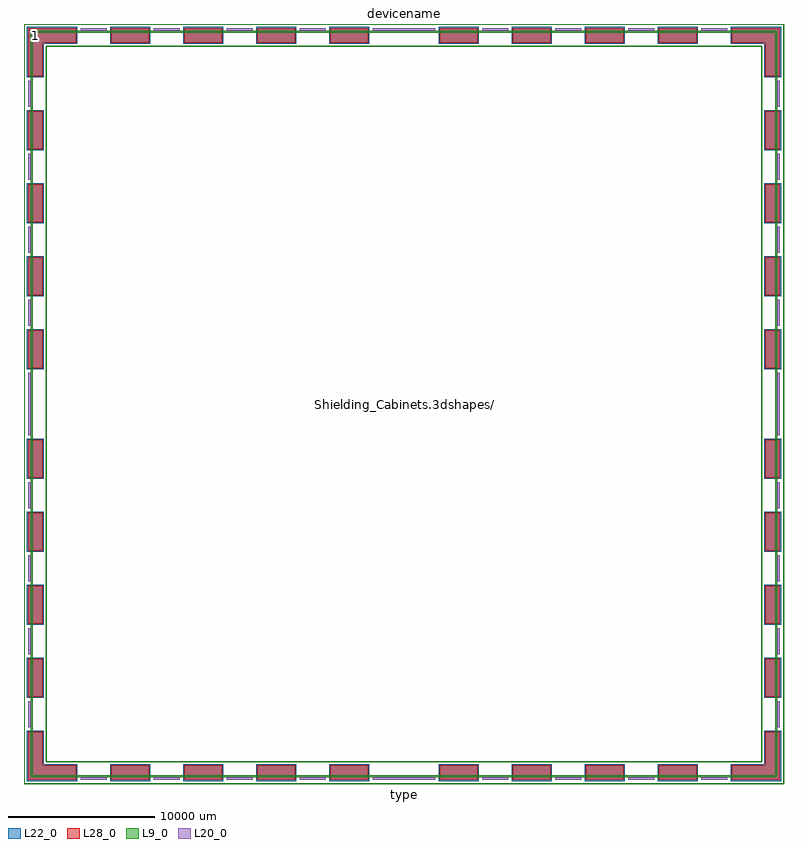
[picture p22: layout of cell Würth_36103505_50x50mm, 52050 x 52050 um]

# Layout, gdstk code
import gdstk
lib = gdstk.Library(unit=1e-6, precision=1e-09)
def R(c, l, rs):  # rectangles x0, y0, x1, y1
    for r in rs: c.add(gdstk.rectangle(r[:2], r[2:], *l))
def A(c, l, x, y, w, h, nx, ny, dx, dy):  # array of equal rectangles
    R(c, l, [(x+i*dx, y+j*dy, x+i*dx+w, y+j*dy+h) for i in range(nx) for j in range(ny)])
L9_0 = (9, 0)
L20_0 = (20, 0)
L22_0 = (22, 0)
L28_0 = (28, 0)

w_rth_36103505_50x50mm = lib.new_cell('Würth_36103505_50x50mm')
A(w_rth_36103505_50x50mm, L22_0, -20125, -25825, 2750, 1150, 4, 2, 5000, 50500)
A(w_rth_36103505_50x50mm, L22_0, 2375, -25825, 2750, 1150, 4, 2, 5000, 50500)
A(w_rth_36103505_50x50mm, L22_0, -25825, -20125, 1150, 2750, 1, 4, 0, 5000)
A(w_rth_36103505_50x50mm, L22_0, 24675, -20125, 1150, 2750, 1, 4, 0, 5000)
A(w_rth_36103505_50x50mm, L22_0, -25825, 2375, 1150, 2750, 1, 4, 0, 5000)
A(w_rth_36103505_50x50mm, L22_0, 24675, 2375, 1150, 2750, 1, 4, 0, 5000)
R(w_rth_36103505_50x50mm, L22_0, [(-25825,-25825,-24675,-24675), (-24825,-25825,-22375,-24675), (22375,-25825,24825,-24675), (24675,-25825,25825,-24675), (-25825,-24825,-24675,-22375), (24675,-24825,25825,-22375), (-25825,22375,-24675,24825), (24675,22375,25825,24825), (-25825,24675,-24675,25825), (-24825,24675,-22375,25825), (22375,24675,24825,25825), (24675,24675,25825,25825)])
A(w_rth_36103505_50x50mm, L28_0, -20050, -25750, 2600, 1000, 4, 2, 5000, 50500)
A(w_rth_36103505_50x50mm, L28_0, 2450, -25750, 2600, 1000, 4, 2, 5000, 50500)
A(w_rth_36103505_50x50mm, L28_0, -25750, -20050, 1000, 2600, 1, 4, 0, 5000)
A(w_rth_36103505_50x50mm, L28_0, 24750, -20050, 1000, 2600, 1, 4, 0, 5000)
A(w_rth_36103505_50x50mm, L28_0, -25750, 2450, 1000, 2600, 1, 4, 0, 5000)
A(w_rth_36103505_50x50mm, L28_0, 24750, 2450, 1000, 2600, 1, 4, 0, 5000)
R(w_rth_36103505_50x50mm, L28_0, [(-25750,-25750,-24750,-24750), (-24750,-25750,-22450,-24750), (22450,-25750,24750,-24750), (24750,-25750,25750,-24750), (-25750,-24750,-24750,-22450), (24750,-24750,25750,-22450), (-25750,22450,-24750,24750), (24750,22450,25750,24750), (-25750,24750,-24750,25750), (-24750,24750,-22450,25750), (22450,24750,24750,25750), (24750,24750,25750,25750)])
w_rth_36103505_50x50mm.add(gdstk.FlexPath([(25650,-20350),(25650,-22150)], 149.998, ends="flush", simple_path=True, layer=20, datatype=0))  # L20_0
w_rth_36103505_50x50mm.add(gdstk.FlexPath([(-25650,-20350),(-25650,-22150)], 149.998, ends="flush", simple_path=True, layer=20, datatype=0))  # L20_0
w_rth_36103505_50x50mm.add(gdstk.FlexPath([(25650,-15350),(25650,-17150)], 149.998, ends="flush", simple_path=True, layer=20, datatype=0))  # L20_0
w_rth_36103505_50x50mm.add(gdstk.FlexPath([(-25650,-15350),(-25650,-17150)], 149.998, ends="flush", simple_path=True, layer=20, datatype=0))  # L20_0
w_rth_36103505_50x50mm.add(gdstk.FlexPath([(25650,-10350),(25650,-12150)], 149.998, ends="flush", simple_path=True, layer=20, datatype=0))  # L20_0
w_rth_36103505_50x50mm.add(gdstk.FlexPath([(-25650,-10350),(-25650,-12150)], 149.998, ends="flush", simple_path=True, layer=20, datatype=0))  # L20_0
w_rth_36103505_50x50mm.add(gdstk.FlexPath([(25650,-5350),(25650,-7150)], 149.998, ends="flush", simple_path=True, layer=20, datatype=0))  # L20_0
w_rth_36103505_50x50mm.add(gdstk.FlexPath([(-25650,-5350),(-25650,-7150)], 149.998, ends="flush", simple_path=True, layer=20, datatype=0))  # L20_0
w_rth_36103505_50x50mm.add(gdstk.FlexPath([(25650,2150),(25650,-2150)], 149.998, ends="flush", simple_path=True, layer=20, datatype=0))  # L20_0
w_rth_36103505_50x50mm.add(gdstk.FlexPath([(-25650,2150),(-25650,-2150)], 149.998, ends="flush", simple_path=True, layer=20, datatype=0))  # L20_0
w_rth_36103505_50x50mm.add(gdstk.FlexPath([(25650,7150),(25650,5350)], 149.998, ends="flush", simple_path=True, layer=20, datatype=0))  # L20_0
w_rth_36103505_50x50mm.add(gdstk.FlexPath([(-25650,7150),(-25650,5350)], 149.998, ends="flush", simple_path=True, layer=20, datatype=0))  # L20_0
w_rth_36103505_50x50mm.add(gdstk.FlexPath([(25650,12150),(25650,10350)], 149.998, ends="flush", simple_path=True, layer=20, datatype=0))  # L20_0
w_rth_36103505_50x50mm.add(gdstk.FlexPath([(-25650,12150),(-25650,10350)], 149.998, ends="flush", simple_path=True, layer=20, datatype=0))  # L20_0
w_rth_36103505_50x50mm.add(gdstk.FlexPath([(25650,17150),(25650,15350)], 149.998, ends="flush", simple_path=True, layer=20, datatype=0))  # L20_0
w_rth_36103505_50x50mm.add(gdstk.FlexPath([(-25650,17150),(-25650,15350)], 149.998, ends="flush", simple_path=True, layer=20, datatype=0))  # L20_0
w_rth_36103505_50x50mm.add(gdstk.FlexPath([(25650,22150),(25650,20350)], 149.998, ends="flush", simple_path=True, layer=20, datatype=0))  # L20_0
w_rth_36103505_50x50mm.add(gdstk.FlexPath([(-25650,22150),(-25650,20350)], 149.998, ends="flush", simple_path=True, layer=20, datatype=0))  # L20_0
w_rth_36103505_50x50mm.add(gdstk.FlexPath([(20350,-25650),(22150,-25650)], 149.998, ends="flush", simple_path=True, layer=20, datatype=0))  # L20_0
w_rth_36103505_50x50mm.add(gdstk.FlexPath([(20350,25650),(22150,25650)], 149.998, ends="flush", simple_path=True, layer=20, datatype=0))  # L20_0
w_rth_36103505_50x50mm.add(gdstk.FlexPath([(15350,-25650),(17150,-25650)], 149.998, ends="flush", simple_path=True, layer=20, datatype=0))  # L20_0
w_rth_36103505_50x50mm.add(gdstk.FlexPath([(15350,25650),(17150,25650)], 149.998, ends="flush", simple_path=True, layer=20, datatype=0))  # L20_0
w_rth_36103505_50x50mm.add(gdstk.FlexPath([(10350,-25650),(12150,-25650)], 149.998, ends="flush", simple_path=True, layer=20, datatype=0))  # L20_0
w_rth_36103505_50x50mm.add(gdstk.FlexPath([(10350,25650),(12150,25650)], 149.998, ends="flush", simple_path=True, layer=20, datatype=0))  # L20_0
w_rth_36103505_50x50mm.add(gdstk.FlexPath([(5350,-25650),(7150,-25650)], 149.998, ends="flush", simple_path=True, layer=20, datatype=0))  # L20_0
w_rth_36103505_50x50mm.add(gdstk.FlexPath([(5350,25650),(7150,25650)], 149.998, ends="flush", simple_path=True, layer=20, datatype=0))  # L20_0
w_rth_36103505_50x50mm.add(gdstk.FlexPath([(-2150,-25650),(2150,-25650)], 149.998, ends="flush", simple_path=True, layer=20, datatype=0))  # L20_0
w_rth_36103505_50x50mm.add(gdstk.FlexPath([(-2150,25650),(2150,25650)], 149.998, ends="flush", simple_path=True, layer=20, datatype=0))  # L20_0
w_rth_36103505_50x50mm.add(gdstk.FlexPath([(-7150,-25650),(-5350,-25650)], 149.998, ends="flush", simple_path=True, layer=20, datatype=0))  # L20_0
w_rth_36103505_50x50mm.add(gdstk.FlexPath([(-7150,25650),(-5350,25650)], 149.998, ends="flush", simple_path=True, layer=20, datatype=0))  # L20_0
w_rth_36103505_50x50mm.add(gdstk.FlexPath([(-12150,-25650),(-10350,-25650)], 149.998, ends="flush", simple_path=True, layer=20, datatype=0))  # L20_0
w_rth_36103505_50x50mm.add(gdstk.FlexPath([(-12150,25650),(-10350,25650)], 149.998, ends="flush", simple_path=True, layer=20, datatype=0))  # L20_0
w_rth_36103505_50x50mm.add(gdstk.FlexPath([(-17150,-25650),(-15350,-25650)], 149.998, ends="flush", simple_path=True, layer=20, datatype=0))  # L20_0
w_rth_36103505_50x50mm.add(gdstk.FlexPath([(-17150,25650),(-15350,25650)], 149.998, ends="flush", simple_path=True, layer=20, datatype=0))  # L20_0
w_rth_36103505_50x50mm.add(gdstk.FlexPath([(-22150,-25650),(-20350,-25650)], 149.998, ends="flush", simple_path=True, layer=20, datatype=0))  # L20_0
w_rth_36103505_50x50mm.add(gdstk.FlexPath([(-22150,25650),(-20350,25650)], 149.998, ends="flush", simple_path=True, layer=20, datatype=0))  # L20_0
w_rth_36103505_50x50mm.add(gdstk.FlexPath([(25500,25500),(-25500,25500)], 149.998, ends="flush", simple_path=True, layer=9, datatype=0))  # L9_0
w_rth_36103505_50x50mm.add(gdstk.FlexPath([(25500,-25500),(25500,25500)], 149.998, ends="flush", simple_path=True, layer=9, datatype=0))  # L9_0
w_rth_36103505_50x50mm.add(gdstk.FlexPath([(-25500,-25500),(25500,-25500)], 149.998, ends="flush", simple_path=True, layer=9, datatype=0))  # L9_0
w_rth_36103505_50x50mm.add(gdstk.FlexPath([(-25500,25500),(-25500,-25500)], 149.998, ends="flush", simple_path=True, layer=9, datatype=0))  # L9_0
w_rth_36103505_50x50mm.add(gdstk.FlexPath([(24500,24500),(-24500,24500)], 50, ends="flush", simple_path=True, layer=9, datatype=0))  # L9_0
w_rth_36103505_50x50mm.add(gdstk.FlexPath([(24500,-24500),(24500,24500)], 50, ends="flush", simple_path=True, layer=9, datatype=0))  # L9_0
w_rth_36103505_50x50mm.add(gdstk.FlexPath([(-24500,-24500),(24500,-24500)], 50, ends="flush", simple_path=True, layer=9, datatype=0))  # L9_0
w_rth_36103505_50x50mm.add(gdstk.FlexPath([(-24500,24500),(-24500,-24500)], 50, ends="flush", simple_path=True, layer=9, datatype=0))  # L9_0
w_rth_36103505_50x50mm.add(gdstk.FlexPath([(26000,26000),(-26000,26000)], 50, ends="flush", simple_path=True, layer=9, datatype=0))  # L9_0
w_rth_36103505_50x50mm.add(gdstk.FlexPath([(26000,-26000),(26000,26000)], 50, ends="flush", simple_path=True, layer=9, datatype=0))  # L9_0
w_rth_36103505_50x50mm.add(gdstk.FlexPath([(-26000,-26000),(26000,-26000)], 50, ends="flush", simple_path=True, layer=9, datatype=0))  # L9_0
w_rth_36103505_50x50mm.add(gdstk.FlexPath([(-26000,26000),(-26000,-26000)], 50, ends="flush", simple_path=True, layer=9, datatype=0))  # L9_0
w_rth_36103505_50x50mm.add(gdstk.Label('Shielding_Cabinets.3dshapes/Würth_36103505_50x50mm.wrl', (0,0), layer=12, texttype=0))
w_rth_36103505_50x50mm.add(gdstk.Label('1', (-25250,25250), layer=28, texttype=0))
w_rth_36103505_50x50mm.add(gdstk.Label('type', (0,-26750), layer=9, texttype=0))
w_rth_36103505_50x50mm.add(gdstk.Label('devicename', (0,26750), layer=9, texttype=0))

lib.write_gds('Würth_36103505_50x50mm.gds')
